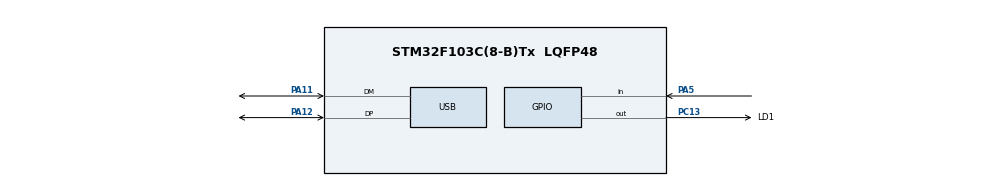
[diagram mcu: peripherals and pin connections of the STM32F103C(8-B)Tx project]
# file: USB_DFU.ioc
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Mcu.Family=STM32F1
Mcu.Name=STM32F103C(8-B)Tx
Mcu.Package=LQFP48
NVIC.PriorityGroup=NVIC_PRIORITYGROUP_4
NVIC.USB_HP_CAN1_TX_IRQn=true\:0\:0\:false\:false\:true\:true\:true
NVIC.USB_LP_CAN1_RX0_IRQn=true\:0\:0\:false\:false\:true\:false\:true
PA11.Mode=Device
PA11.Signal=USB_DM
PA12.Mode=Device
PA12.Signal=USB_DP
PA13.Mode=Serial_Wire
PA13.Signal=SYS_JTMS-SWDIO
PA14.Mode=Serial_Wire
PA14.Signal=SYS_JTCK-SWCLK
PA5.GPIO_PuPd=GPIO_PULLUP
PA5.Signal=GPIO_Input
PC13-TAMPER-RTC.GPIO_Label=LD1
PC13-TAMPER-RTC.GPIO_Speed=GPIO_SPEED_FREQ_HIGH
PC13-TAMPER-RTC.Signal=GPIO_Output
PC14-OSC32_IN.Mode=LSE-External-Oscillator
PC14-OSC32_IN.Signal=RCC_OSC32_IN
PC15-OSC32_OUT.Mode=LSE-External-Oscillator
PC15-OSC32_OUT.Signal=RCC_OSC32_OUT
PD0-OSC_IN.Mode=HSE-External-Oscillator
PD0-OSC_IN.Signal=RCC_OSC_IN
PD1-OSC_OUT.Mode=HSE-External-Oscillator
PD1-OSC_OUT.Signal=RCC_OSC_OUT
ProjectManager.HeapSize=0x600
ProjectManager.StackSize=0x2000
ProjectManager.TargetToolchain=MDK-ARM V5
RCC.AHBFreq_Value=72000000
RCC.APB1CLKDivider=RCC_HCLK_DIV2
RCC.APB1Freq_Value=36000000
RCC.APB1TimFreq_Value=72000000
RCC.APB2Freq_Value=72000000
RCC.APB2TimFreq_Value=72000000
RCC.EnbaleCSS=true
RCC.HCLKFreq_Value=72000000
RCC.PLLMUL=RCC_PLL_MUL9
RCC.PLLSourceVirtual=RCC_PLLSOURCE_HSE
RCC.SYSCLKFreq_VALUE=72000000
RCC.SYSCLKSource=RCC_SYSCLKSOURCE_PLLCLK
RCC.USBFreq_Value=48000000
RCC.USBPrescaler=RCC_USBCLKSOURCE_PLL_DIV1_5
USB.ep0_mps=DEP0CTL_MPS_64
USB_DEVICE.CLASS_NAME_FS=DFU
USB_DEVICE.USBD_DFU_APP_DEFAULT_ADD=0x08004000
USB_DEVICE.USBD_DFU_MEDIA=@Internal Flash   /0x08004000/16*01Ka,48*01Kg
USB_DEVICE.VirtualMode=Dfu
USB_DEVICE.VirtualModeFS=Dfu_FS
VP_USB_DEVICE_VS_USB_DEVICE_DFU_FS.Mode=DFU_FS
board=custom

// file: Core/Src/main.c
/* USER CODE BEGIN Header */
/**
  ******************************************************************************
  * @file           : main.c
  * @brief          : Main program body
  ******************************************************************************
  * This notice applies to any and all portions of this file
  * that are not between comment pairs USER CODE BEGIN and
  * USER CODE END. Other portions of this file, whether
  * inserted by the user or by software development tools
  * are owned by their respective copyright owners.
  *
  * Copyright (c) 2019 STMicroelectronics International N.V.
  * All rights reserved.
  *
  * Redistribution and use in source and binary forms, with or without
  * modification, are permitted, provided that the following conditions are met:
  *
  * 1. Redistribution of source code must retain the above copyright notice,
  *    this list of conditions and the following disclaimer.
  * 2. Redistributions in binary form must reproduce the above copyright notice,
  *    this list of conditions and the following disclaimer in the documentation
  *    and/or other materials provided with the distribution.
  * 3. Neither the name of STMicroelectronics nor the names of other
  *    contributors to this software may be used to endorse or promote products
  *    derived from this software without specific written permission.
  * 4. This software, including modifications and/or derivative works of this
  *    software, must execute solely and exclusively on microcontroller or
  *    microprocessor devices manufactured by or for STMicroelectronics.
  * 5. Redistribution and use of this software other than as permitted under
  *    this license is void and will automatically terminate your rights under
  *    this license.
  *
  * THIS SOFTWARE IS PROVIDED BY STMICROELECTRONICS AND CONTRIBUTORS "AS IS"
  * AND ANY EXPRESS, IMPLIED OR STATUTORY WARRANTIES, INCLUDING, BUT NOT
  * LIMITED TO, THE IMPLIED WARRANTIES OF MERCHANTABILITY, FITNESS FOR A
  * PARTICULAR PURPOSE AND NON-INFRINGEMENT OF THIRD PARTY INTELLECTUAL PROPERTY
  * RIGHTS ARE DISCLAIMED TO THE FULLEST EXTENT PERMITTED BY LAW. IN NO EVENT
  * SHALL STMICROELECTRONICS OR CONTRIBUTORS BE LIABLE FOR ANY DIRECT, INDIRECT,
  * INCIDENTAL, SPECIAL, EXEMPLARY, OR CONSEQUENTIAL DAMAGES (INCLUDING, BUT NOT
  * LIMITED TO, PROCUREMENT OF SUBSTITUTE GOODS OR SERVICES; LOSS OF USE, DATA,
  * OR PROFITS; OR BUSINESS INTERRUPTION) HOWEVER CAUSED AND ON ANY THEORY OF
  * LIABILITY, WHETHER IN CONTRACT, STRICT LIABILITY, OR TORT (INCLUDING
  * NEGLIGENCE OR OTHERWISE) ARISING IN ANY WAY OUT OF THE USE OF THIS SOFTWARE,
  * EVEN IF ADVISED OF THE POSSIBILITY OF SUCH DAMAGE.
  *
  ******************************************************************************
  */
/* USER CODE END Header */

#include "main.h"
#include "usb_device.h"
#include "gpio.h"

/* USER CODE BEGIN PTD */
	 typedef  void (*pFunction)(void);
/* USER CODE END PTD */

void SystemClock_Config(void);
/* USER CODE BEGIN PFP */
void jumpfuc(void);
/* USER CODE END PFP */

int main(void)
{

  /* MCU Configuration--------------------------------------------------------*/

  /* Reset of all peripherals, Initializes the Flash interface and the Systick. */
  HAL_Init();

  /* Configure the system clock */
  SystemClock_Config();

  /* Initialize all configured peripherals */
  MX_GPIO_Init();
  /* USER CODE BEGIN 2 */

		if(LL_GPIO_IsInputPinSet(GPIOA,LL_GPIO_PIN_5) == GPIO_PIN_RESET)
		{
    /* Test if user code is programmed starting from USBD_DFU_APP_DEFAULT_ADD address */
    MX_USB_DEVICE_Init();
  }
		else
		{
			jumpfuc();
  }
  /* USER CODE END 2 */

  /* Infinite loop */
  while (1)
  {

  }
}

void SystemClock_Config(void)
{
  LL_FLASH_SetLatency(LL_FLASH_LATENCY_2);

   if(LL_FLASH_GetLatency() != LL_FLASH_LATENCY_2)
  {
    Error_Handler();
  }
  LL_RCC_HSE_Enable();

   /* Wait till HSE is ready */
  while(LL_RCC_HSE_IsReady() != 1)
  {

  }
  LL_RCC_HSE_EnableCSS();
  LL_RCC_PLL_ConfigDomain_SYS(LL_RCC_PLLSOURCE_HSE_DIV_1, LL_RCC_PLL_MUL_9);
  LL_RCC_PLL_Enable();

   /* Wait till PLL is ready */
  while(LL_RCC_PLL_IsReady() != 1)
  {

  }
  LL_RCC_SetAHBPrescaler(LL_RCC_SYSCLK_DIV_1);
  LL_RCC_SetAPB1Prescaler(LL_RCC_APB1_DIV_2);
  LL_RCC_SetAPB2Prescaler(LL_RCC_APB2_DIV_1);
  LL_RCC_SetSysClkSource(LL_RCC_SYS_CLKSOURCE_PLL);

   /* Wait till System clock is ready */
  while(LL_RCC_GetSysClkSource() != LL_RCC_SYS_CLKSOURCE_STATUS_PLL)
  {

  }
  LL_Init1msTick(72000000);
  LL_SYSTICK_SetClkSource(LL_SYSTICK_CLKSOURCE_HCLK);
  LL_SetSystemCoreClock(72000000);
  LL_RCC_SetUSBClockSource(LL_RCC_USB_CLKSOURCE_PLL_DIV_1_5);
}

/* USER CODE BEGIN 4 */
void jumpfuc(void)
{

  pFunction JumpToApplication;
  uint32_t JumpAddress;
    if(((*(__IO uint32_t*)USBD_DFU_APP_DEFAULT_ADD) & 0x2FFE0000 ) == 0x20000000)
    {
      /* Jump to user application */

      JumpAddress = *(__IO uint32_t*) (USBD_DFU_APP_DEFAULT_ADD + 4);
      JumpToApplication = (pFunction) JumpAddress;

      /* Initialize user application's Stack Pointer */
      __set_MSP((*(__IO uint32_t*) USBD_DFU_APP_DEFAULT_ADD ));
      JumpToApplication();
			   while(1);
    }
}
/* USER CODE END 4 */

void Error_Handler(void)
{
}

/************************ (C) COPYRIGHT STMicroelectronics *****END OF FILE****/
